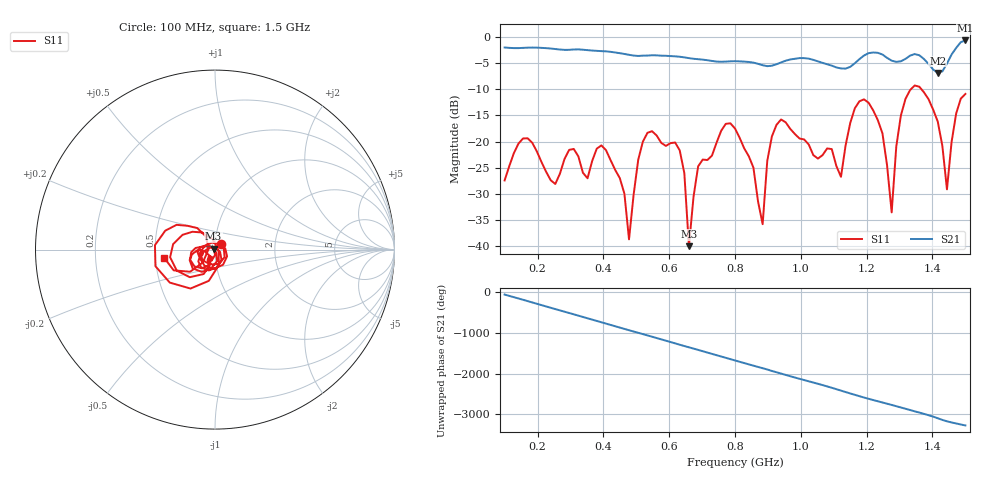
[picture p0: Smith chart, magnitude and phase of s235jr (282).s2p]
! NanoVNA-App
! Date: 2025-09-25 15:06:21
! Start: 100MHz Stop: 1,5GHz Points: 101
! S-Parameter data: F S11 S21 S12 S22
# Hz S RI R 50
!  Frequency  S11_Real  S11_Imag  S21_Real  S21_Imag  S12_Real  S12_Imag  S22_Real  S22_Imag
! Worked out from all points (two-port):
!   101 points, 100 MHz to 1.5 GHz, reference 50 ohm
!   highest |S21| = -0.62 dB at 1.5 GHz (marker M1); lowest = -6.8 dB at 1.416 GHz (marker M2)
!   |S21| within 3 dB of the highest: start of sweep to 605.2 MHz; 1.19 GHz to 1.255 GHz (64.77 MHz wide, 5.3 % of centre) (the widest 2 of 4)
!   lowest |S11| = -40.1 dB at 660 MHz (marker M3), VSWR 1.02, Z = 49.2 + j0.551 ohm
!   |S11| at or under -10 dB: start of sweep to 1.334 GHz; 1.367 GHz to end of sweep
!   S12 and S22 are empty: the file has one direction only
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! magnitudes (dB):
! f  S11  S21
! 100 MHz  -27.5  -2.0
! 156 MHz  -19.4  -2.0
! 338 MHz  -26.0  -2.4
! 408 MHz  -21.6  -2.7
! 478 MHz  -38.8  -3.4
! 520 MHz  -20.0  -3.5
! 576 MHz  -20.3  -3.5
! 632 MHz  -21.7  -3.7
! 660 MHz  -40.1  -4.0
! 688 MHz  -24.8  -4.2
! 800 MHz  -17.5  -4.6
! 884 MHz  -35.9  -5.4
! 926 MHz  -16.8  -5.2
! 1.038 GHz  -22.6  -4.3
! 1.122 GHz  -26.8  -6.0
! 1.192 GHz  -11.9  -3.5
! 1.248 GHz  -18.4  -3.3
! 1.276 GHz  -33.6  -4.5
! 1.318 GHz  -11.8  -4.2
! 1.416 GHz  -16.2  -6.8
! 1.444 GHz  -29.2  -5.1
! 1.5 GHz  -10.9  -0.6
